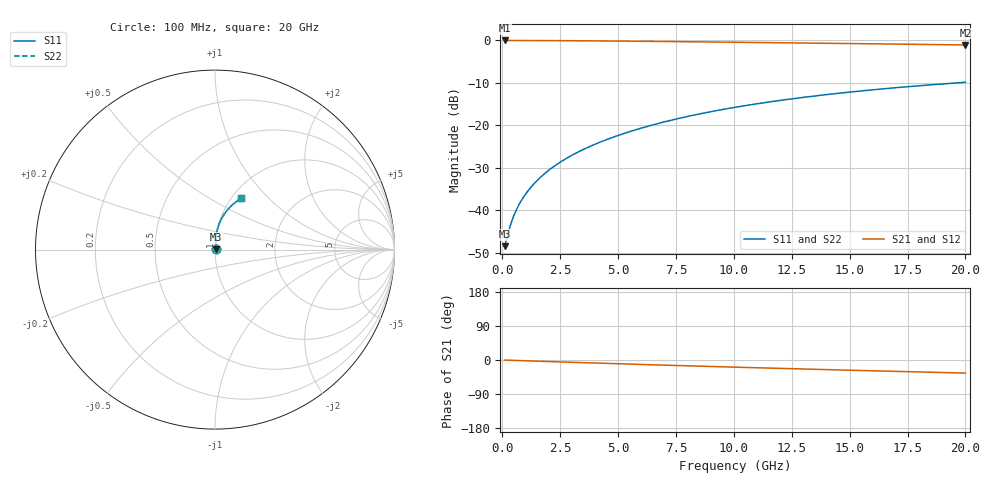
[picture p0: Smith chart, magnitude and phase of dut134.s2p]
! Touchstone file exported from HFSS 2024.1.0
!  File:  C:/UserFiles/LocalFiles/RDL_TSV_Batchsim/temp_RDL_bottom_134_1778696640.aedt
!  Generated:  02:26:41 AM May 14, 2026
!  Design:  RDL_bottom
!  Project:  temp_RDL_bottom_134_1778696640
!  Setup:  Setup1
!  Solution:  Sweep
! Variables:
!  dtsv = 10.80580581um
!  hbump = 3um
!  htsv = 94.17um
!  ldown = 468.27um
!  lrdl = 100um
!  p = 40
!  p1 = 49.99um
!  rhole = 1um
!  t = 450um
!  tdown = 2.26um
!  trdl = 3.915915916um
!  wdown = 23.97um
!  wrdl = 20um
# GHz S MA R 50.000000
! Terminal data exported
! Port[1] = RDL1_T1
! Port[2] = RDL1_T2
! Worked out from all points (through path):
!   200 points, 100 MHz to 20 GHz, reference 50 ohm
!   highest |S21| = -0.03 dB at 100 MHz (marker M1); lowest = -1.1 dB at 20 GHz (marker M2)
!   group delay of S21, straight-line fit = 4.76 ps
!   lowest |S11| = -48.5 dB at 100 MHz (marker M3), VSWR 1.01, Z = 50.3 + j0.164 ohm
!   |S11| at or under -10 dB: start of sweep to 19.69 GHz
!   |S22| runs from -48.5 to -9.9 dB; largest |S21 - S12| = 2.5e-15
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0.1  0.00377 25.6  0.9966 -0.2  0.9966 -0.2  0.00377 25.6
! Gamma 0 0 0 0
! Port Impedance 50 0 50 0
0.3  0.005989 52.8  0.9963 -0.6  0.9963 -0.6  0.005989 52.8
0.4  0.007309 59.1  0.9961 -0.9  0.9961 -0.9  0.007309 59.1
0.5  0.008651 63.3  0.9959 -1.1  0.9959 -1.1  0.008651 63.3
0.6  0.009997 66.4  0.9957 -1.3  0.9957 -1.3  0.009997 66.4
0.7  0.01134 68.9  0.9956 -1.5  0.9956 -1.5  0.01134 68.9
0.9  0.01405 72.5  0.9952 -1.9  0.9952 -1.9  0.01405 72.5
1.2  0.01815 76.1  0.9946 -2.5  0.9946 -2.5  0.01815 76.1
1.7  0.02515 79.8  0.9935 -3.5  0.9935 -3.5  0.02515 79.8
2.2  0.03234 81.9  0.9922 -4.5  0.9922 -4.5  0.03234 81.9
2.8  0.04121 83.5  0.9902 -5.7  0.9902 -5.7  0.04121 83.5
3.5  0.05189 84.4  0.9875 -7.0  0.9875 -7.0  0.05189 84.4
4.2  0.0629 84.9  0.9844 -8.4  0.9844 -8.4  0.0629 84.9
5  0.07586 84.9  0.9804 -9.9  0.9804 -9.9  0.07586 84.9
5.9  0.09085 84.4  0.9754 -11.6  0.9754 -11.6  0.09084 84.4
6.8  0.1062 83.6  0.9702 -13.2  0.9702 -13.2  0.1062 83.6
8.4  0.1339 81.7  0.9603 -16.1  0.9603 -16.1  0.1339 81.7
10.1  0.1635 79.2  0.9494 -19.0  0.9494 -19.0  0.1635 79.2
11.7  0.1911 76.6  0.9389 -21.7  0.9389 -21.7  0.1911 76.6
13.4  0.2197 73.8  0.9276 -24.4  0.9276 -24.4  0.2197 73.8
16.7  0.2724 68.3  0.9053 -29.6  0.9053 -29.6  0.2723 68.3
20  0.3205 62.9  0.8829 -34.6  0.8829 -34.6  0.3205 62.9
